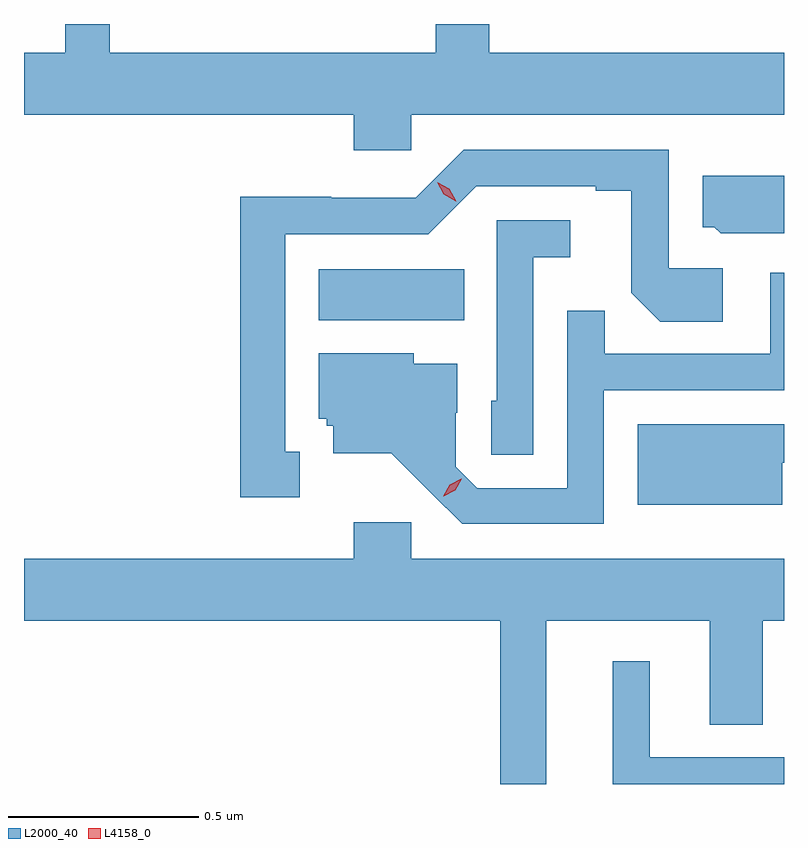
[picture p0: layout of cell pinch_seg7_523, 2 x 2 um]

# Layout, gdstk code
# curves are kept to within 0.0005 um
import gdstk
lib = gdstk.Library(unit=1e-6, precision=1e-09)
def R(c, l, rs):  # rectangles x0, y0, x1, y1
    for r in rs: c.add(gdstk.rectangle(r[:2], r[2:], *l))
def P(c, l, *ps):  # polygons
    for p in ps: c.add(gdstk.Polygon(p, *l))
L2000_40 = (2000, 40)
L4158_0 = (4158, 0)

pinch_seg7_523 = lib.new_cell('pinch_seg7_523')
R(pinch_seg7_523, L2000_40, [(132.266,1077.332,132.65,1077.466)])
P(pinch_seg7_523, L2000_40, [(132.51,1077.872),(133.491,1077.872),(133.491,1078.036),(132.715,1078.036),(132.715,1078.111),(132.575,1078.111),(132.575,1078.036),(131.717,1078.036),(131.717,1078.111),(131.6,1078.111),(131.6,1078.036),(131.491,1078.036),(131.491,1077.872),(132.359,1077.872),(132.359,1077.779),(132.51,1077.779)],
  [(132.217,1076.985),(132.178,1076.985),(132.178,1077.558),(132.555,1077.558),(132.681,1077.684),(132.995,1077.684),(132.995,1077.672),(133.089,1077.672),(133.089,1077.404),(133.165,1077.328),(133.33,1077.328),(133.33,1077.468),(133.188,1077.468),(133.188,1077.78),(132.648,1077.78),(132.522,1077.654),(132.3,1077.654),(132.3,1077.656),(132.06,1077.656),(132.06,1076.865),(132.217,1076.865)],
  [(133.458,1077.561),(133.491,1077.561),(133.491,1077.712),(133.277,1077.712),(133.277,1077.576),(133.308,1077.576),(133.324,1077.56),(133.458,1077.56)],
  [(132.831,1077.497),(132.928,1077.497),(132.928,1077.594),(132.735,1077.594),(132.735,1077.12),(132.72,1077.12),(132.72,1076.977),(132.831,1076.977)],
  [(133.017,1077.147),(133.491,1077.147),(133.491,1077.457),(133.455,1077.457),(133.455,1077.243),(133.019,1077.243),(133.019,1077.356),(132.921,1077.356),(132.921,1076.889),(132.684,1076.889),(132.627,1076.946),(132.627,1077.088),(132.631,1077.088),(132.631,1077.217),(132.516,1077.217),(132.516,1077.244),(132.266,1077.244),(132.266,1077.072),(132.288,1077.072),(132.288,1077.054),(132.305,1077.054),(132.305,1076.981),(132.457,1076.981),(132.644,1076.796),(133.017,1076.796)],
  [(133.486,1076.957),(133.491,1076.957),(133.491,1077.058),(133.106,1077.058),(133.106,1076.846),(133.486,1076.846)],
  [(132.865,1076.54),(133.295,1076.54),(133.295,1076.267),(133.435,1076.267),(133.435,1076.54),(133.491,1076.54),(133.491,1076.704),(132.51,1076.704),(132.51,1076.8),(132.359,1076.8),(132.359,1076.704),(131.491,1076.704),(131.491,1076.54),(132.744,1076.54),(132.744,1076.111),(132.865,1076.111)],
  [(133.491,1076.182),(133.138,1076.182),(133.138,1076.434),(133.04,1076.434),(133.04,1076.111),(133.491,1076.111)])
P(pinch_seg7_523, L4158_0, [(132.594,1076.868),(132.594,1076.868),(132.612,1076.898),(132.642,1076.914),(132.643,1076.914),(132.643,1076.914),(132.626,1076.884),(132.595,1076.868)],
  [(132.627,1077.644),(132.596,1077.663),(132.578,1077.695),(132.578,1077.695),(132.578,1077.695),(132.61,1077.677),(132.628,1077.644),(132.628,1077.644)])

lib.write_gds('pinch_seg7_523.gds')
